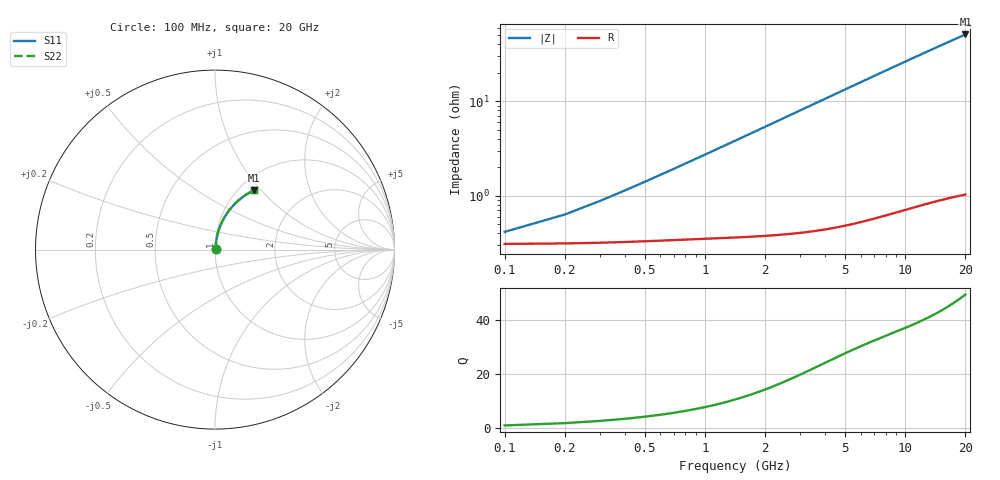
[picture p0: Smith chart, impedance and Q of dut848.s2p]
! Touchstone file exported from HFSS 2026.1.0
!  File:  C:/ffzhzh/LocalFiles/Ansys_Project_Files/temp_train_BSMRDL_848_1783170494_55132.aedt
!  Generated:  09:09:28 PM Jul  4, 2026
!  Design:  BSMRDL
!  Project:  temp_train_BSMRDL_848_1783170494_55132
! Variables:
!  h_bsmrdl = 3.51um
!  h_ox = 20um
!  h_rdl = 5um
!  h_sub = 80um
!  h_tmrdl = 5um
!  h_tsv = 80um
!  h_via = 3um
!  l_bsmrdl = 365.59um
!  l_sub = 765.59um
!  l_tmrdl = 200um
!  m_sub = 200um
!  pitch = 54.63um
!  r_tsv = 6um
!  s_tmrdl = 10um
!  w_bsmrdl = 12.46um
!  w_sub = 500um
!  w_tmrdl = 12um
!  x_tsv_center1 = 206um
!  x_tsv_center2 = 584.05um
!  x_tsv_center3 = 796.05um
!  x_tsv_center4 = 1174.1um
!  x_tsv_center5 = 1386.1um
!  x_tsv_center6 = 1764.15um
# GHz S MA R 50.000000
! Terminal data exported
! Port[1] = BSM_RDL1_1_T1
! Port[2] = BSM_RDL1_1_T2
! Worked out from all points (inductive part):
!   200 points, 100 MHz to 20 GHz, reference 50 ohm
!   read as one part in series: L = 433 pH near 400 MHz
!   highest Q = 49.6 at 20 GHz (marker M1), where L = 406 pH
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0.1  0.00388 37.5  0.9969 -0.2  0.9969 -0.2  0.00388 37.5
! Gamma 0 0 0 0
! Port Impedance 50 0 50 0
0.2  0.005658 56.3  0.9969 -0.4  0.9969 -0.4  0.005658 56.3
0.3  0.007741 65.4  0.9968 -0.5  0.9968 -0.5  0.007741 65.4
0.4  0.009922 70.4  0.9967 -0.7  0.9967 -0.7  0.009921 70.4
0.5  0.01214 73.5  0.9967 -0.9  0.9967 -0.9  0.01214 73.5
0.6  0.01437 75.6  0.9966 -1.1  0.9966 -1.1  0.01437 75.6
0.8  0.01885 78.2  0.9964 -1.4  0.9964 -1.4  0.01885 78.2
1.1  0.02561 80.2  0.9962 -1.9  0.9962 -1.9  0.02561 80.2
1.5  0.03464 81.4  0.9958 -2.6  0.9958 -2.6  0.03464 81.4
1.8  0.04142 81.8  0.9955 -3.1  0.9955 -3.1  0.04142 81.8
2.1  0.04821 81.9  0.9951 -3.7  0.9951 -3.7  0.04821 81.9
2.7  0.06175 81.7  0.9942 -4.7  0.9942 -4.7  0.06175 81.7
3.5  0.07972 80.9  0.9927 -6.1  0.9927 -6.1  0.07972 80.9
4.2  0.09533 80.1  0.991 -7.3  0.991 -7.3  0.09533 80.1
5  0.113 78.9  0.9889 -8.6  0.9889 -8.6  0.113 78.9
5.9  0.1327 77.6  0.986 -10.2  0.986 -10.2  0.1327 77.6
6.8  0.152 76.2  0.9829 -11.7  0.9829 -11.7  0.152 76.2
8.3  0.1837 73.9  0.9768 -14.2  0.9768 -14.2  0.1837 73.9
10.1  0.2204 71.1  0.9685 -17.1  0.9685 -17.1  0.2204 71.1
13.4  0.2843 66.0  0.9508 -22.3  0.9508 -22.3  0.2843 66.1
16.7  0.3431 61.2  0.9305 -27.4  0.9305 -27.4  0.3431 61.2
20  0.3967 56.5  0.9086 -32.1  0.9086 -32.1  0.3967 56.5
